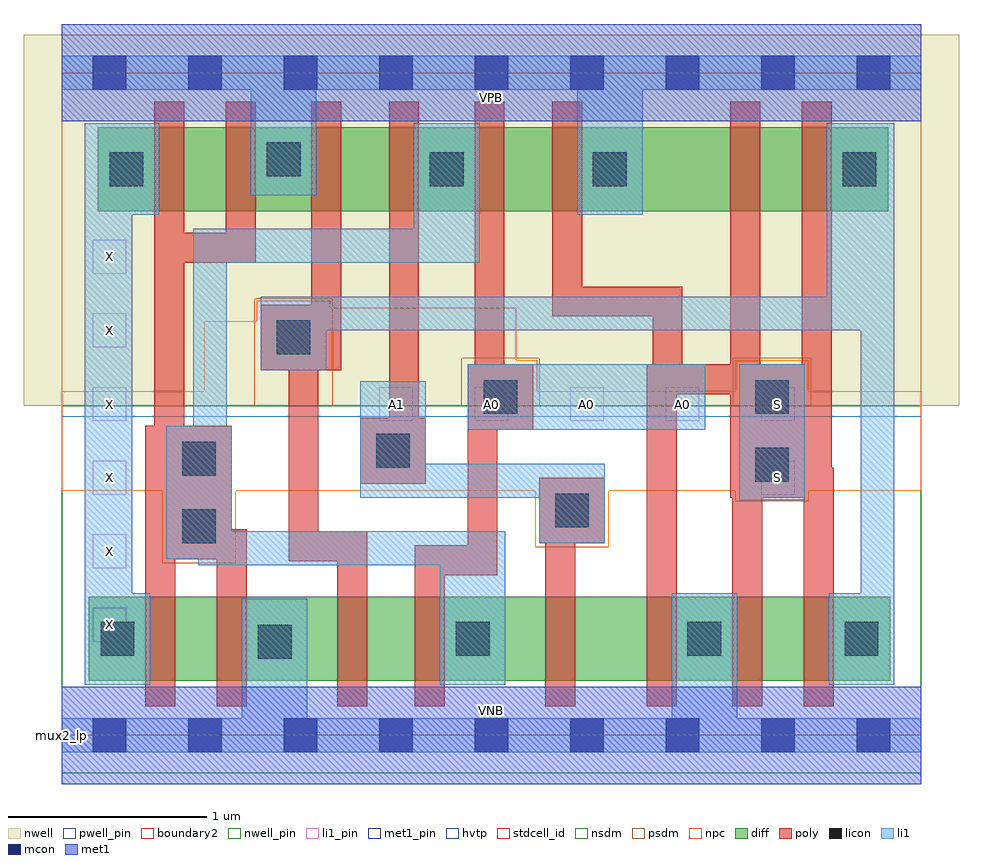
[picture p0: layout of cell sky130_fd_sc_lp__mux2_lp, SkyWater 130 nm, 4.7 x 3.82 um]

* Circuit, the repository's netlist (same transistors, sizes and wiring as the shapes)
* Copyright 2020 The SkyWater PDK Authors
*
* Licensed under the Apache License, Version 2.0 (the "License");
* you may not use this file except in compliance with the License.
* You may obtain a copy of the License at
*
*     https://www.apache.org/licenses/LICENSE-2.0
*
* Unless required by applicable law or agreed to in writing, software
* distributed under the License is distributed on an "AS IS" BASIS,
* WITHOUT WARRANTIES OR CONDITIONS OF ANY KIND, either express or implied.
* See the License for the specific language governing permissions and
* limitations under the License.
*
* SPDX-License-Identifier: Apache-2.0

.SUBCKT sky130_fd_sc_lp__mux2_lp A0 A1 S VGND VNB VPB VPWR X
*.PININFO A0:I A1:I S:I VGND:I VNB:I VPB:I VPWR:I X:O
MI6 Sb S net36 VNB sky130_fd_pr__nfet_01v8 m=1 w=0.42U l=0.15U mult=1 sa=0.265
+ sb=0.265 sd=0.28 area=0.063 perim=1.14
MMNA00 xb A0 smdNA0 VNB sky130_fd_pr__nfet_01v8 m=1 w=0.42U l=0.15U mult=1 sa=0.265
+ sb=0.265 sd=0.28 area=0.063 perim=1.14
MMNA01 smdNA0 Sb VGND VNB sky130_fd_pr__nfet_01v8 m=1 w=0.42U l=0.15U mult=1 sa=0.265
+ sb=0.265 sd=0.28 area=0.063 perim=1.14
MMNA10 xb A1 sndNA1 VNB sky130_fd_pr__nfet_01v8 m=1 w=0.42U l=0.15U mult=1 sa=0.265
+ sb=0.265 sd=0.28 area=0.063 perim=1.14
MMNA11 sndNA1 S VGND VNB sky130_fd_pr__nfet_01v8 m=1 w=0.42U l=0.15U mult=1 sa=0.265
+ sb=0.265 sd=0.28 area=0.063 perim=1.14
MMIN1 net36 S VGND VNB sky130_fd_pr__nfet_01v8 m=1 w=0.42U l=0.15U mult=1 sa=0.265
+ sb=0.265 sd=0.28 area=0.063 perim=1.14
MMIN2 X xb net29 VNB sky130_fd_pr__nfet_01v8 m=1 w=0.42U l=0.15U mult=1 sa=0.265
+ sb=0.265 sd=0.28 area=0.063 perim=1.14
MI8 net29 xb VGND VNB sky130_fd_pr__nfet_01v8 m=1 w=0.42U l=0.15U mult=1 sa=0.265
+ sb=0.265 sd=0.28 area=0.063 perim=1.14
MMPA00 VPWR S sndPS VPB sky130_fd_pr__pfet_01v8_hvt m=1 w=0.42U l=0.15U mult=1
+ sa=0.265 sb=0.265 sd=0.28 area=0.063 perim=1.14
MMPA01 sndPS A0 xb VPB sky130_fd_pr__pfet_01v8_hvt m=1 w=0.42U l=0.15U mult=1 sa=0.265
+ sb=0.265 sd=0.28 area=0.063 perim=1.14
MMPA10 VPWR Sb sndPSb VPB sky130_fd_pr__pfet_01v8_hvt m=1 w=0.42U l=0.15U mult=1
+ sa=0.265 sb=0.265 sd=0.28 area=0.063 perim=1.14
MMPA11 sndPSb A1 xb VPB sky130_fd_pr__pfet_01v8_hvt m=1 w=0.42U l=0.15U mult=1
+ sa=0.265 sb=0.265 sd=0.28 area=0.063 perim=1.14
MMIP1 net64 S VPWR VPB sky130_fd_pr__pfet_01v8_hvt m=1 w=0.42U l=0.15U mult=1 sa=0.265
+ sb=0.265 sd=0.28 area=0.063 perim=1.14
MMIP2 X xb net61 VPB sky130_fd_pr__pfet_01v8_hvt m=1 w=0.42U l=0.15U mult=1 sa=0.265
+ sb=0.265 sd=0.28 area=0.063 perim=1.14
MI9 net61 xb VPWR VPB sky130_fd_pr__pfet_01v8_hvt m=1 w=0.42U l=0.15U mult=1 sa=0.265
+ sb=0.265 sd=0.28 area=0.063 perim=1.14
MI7 Sb S net64 VPB sky130_fd_pr__pfet_01v8_hvt m=1 w=0.42U l=0.15U mult=1 sa=0.265
+ sb=0.265 sd=0.28 area=0.063 perim=1.14
.ENDS sky130_fd_sc_lp__mux2_lp

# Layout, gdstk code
import gdstk
lib = gdstk.Library(unit=1e-6, precision=1e-09)
def R(c, l, rs):  # rectangles x0, y0, x1, y1
    for r in rs: c.add(gdstk.rectangle(r[:2], r[2:], *l))
def A(c, l, x, y, w, h, nx, ny, dx, dy):  # array of equal rectangles
    R(c, l, [(x+i*dx, y+j*dy, x+i*dx+w, y+j*dy+h) for i in range(nx) for j in range(ny)])
def P(c, l, *ps):  # polygons
    for p in ps: c.add(gdstk.Polygon(p, *l))
nwell_pin = (64, 16)
nwell = (64, 20)
diff = (65, 20)
poly = (66, 20)
licon = (66, 44)
li1_pin = (67, 16)
li1 = (67, 20)
mcon = (67, 44)
met1_pin = (68, 16)
met1 = (68, 20)
hvtp = (78, 44)
stdcell_id = (81, 4)
nsdm = (93, 44)
psdm = (94, 20)
npc = (95, 20)
pwell_pin = (122, 16)
boundary2 = (236, 0)

sky130_fd_sc_lp__mux2_lp = lib.new_cell('sky130_fd_sc_lp__mux2_lp')
R(sky130_fd_sc_lp__mux2_lp, nwell_pin, [(0,3.085,4.32,3.33)])
R(sky130_fd_sc_lp__mux2_lp, nwell, [(-0.19,1.655,4.51,3.52)])
R(sky130_fd_sc_lp__mux2_lp, diff, [(0.135,0.275,4.165,0.695), (0.18,2.635,4.155,3.055)])
P(sky130_fd_sc_lp__mux2_lp, poly, [(0.975,3.185),(0.825,3.185),(0.825,2.525),(0.615,2.525),(0.615,3.185),(0.465,3.185),(0.465,1.555),(0.42,1.555),(0.42,0.145),(0.57,0.145),(0.57,0.885),(0.78,0.885),(0.78,0.145),(0.93,0.145),(0.93,1.035),(0.855,1.035),(0.855,1.555),(0.615,1.555),(0.615,2.375),(0.975,2.375)],
  [(1.535,1.025),(1.29,1.025),(1.29,1.835),(1.405,1.835),(1.405,3.185),(1.255,3.185),(1.255,2.165),(1,2.165),(1,1.835),(1.14,1.835),(1.14,0.875),(1.385,0.875),(1.385,0.145),(1.535,0.145)],
  [(1.83,1.595),(1.795,1.595),(1.795,3.185),(1.645,3.185),(1.645,1.595),(1.5,1.595),(1.5,1.265),(1.83,1.265)],
  [(2.37,1.865),(2.225,1.865),(2.225,3.185),(2.075,3.185),(2.075,1.865),(2.04,1.865),(2.04,0.955),(1.775,0.955),(1.775,0.145),(1.925,0.145),(1.925,0.805),(2.19,0.805),(2.19,1.535),(2.37,1.535)],
  [(2.73,1.295),(2.4,1.295),(2.4,0.965),(2.43,0.965),(2.43,0.145),(2.58,0.145),(2.58,0.965),(2.73,0.965)],
  [(3.88,1.345),(3.87,1.345),(3.87,3.185),(3.72,3.185),(3.72,1.865),(3.51,1.865),(3.51,3.185),(3.36,3.185),(3.36,1.865),(3.12,1.865),(3.12,2.255),(2.615,2.255),(2.615,3.185),(2.465,3.185),(2.465,2.105),(2.97,2.105),(2.97,1.865),(2.94,1.865),(2.94,0.145),(3.09,0.145),(3.09,1.715),(3.36,1.715),(3.36,1.195),(3.37,1.195),(3.37,0.145),(3.52,0.145),(3.52,1.195),(3.73,1.195),(3.73,0.145),(3.88,0.145)])
R(sky130_fd_sc_lp__mux2_lp, licon, [(0.985,0.385,1.155,0.555), (0.195,0.4,0.365,0.57), (1.98,0.4,2.15,0.57), (3.145,0.4,3.315,0.57), (3.935,0.4,4.105,0.57), (0.605,0.965,0.775,1.135), (2.48,1.045,2.65,1.215), (3.485,1.275,3.655,1.445), (0.605,1.305,0.775,1.475), (1.58,1.345,1.75,1.515), (2.12,1.615,2.29,1.785), (3.485,1.615,3.655,1.785), (1.08,1.915,1.25,2.085), (0.24,2.76,0.41,2.93), (1.85,2.76,2.02,2.93), (2.67,2.76,2.84,2.93), (3.925,2.76,4.095,2.93), (1.03,2.81,1.2,2.98)])
A(sky130_fd_sc_lp__mux2_lp, li1_pin, 0.155, 0.47, 0.17, 0.17, 1, 6, 0, 0.37)
A(sky130_fd_sc_lp__mux2_lp, li1_pin, 1.595, 1.58, 0.17, 0.17, 5, 1, 0.48, 0)
R(sky130_fd_sc_lp__mux2_lp, li1_pin, [(3.515,1.21,3.685,1.38)])
R(sky130_fd_sc_lp__mux2_lp, li1, [(3.405,1.18,3.735,1.865), (2.04,1.535,3.235,1.865)])
P(sky130_fd_sc_lp__mux2_lp, li1, [(2.59,2.615),(2.59,3.245),(1.28,3.245),(1.28,2.715),(0.95,2.715),(0.95,3.245),(0,3.245),(0,3.415),(4.32,3.415),(4.32,3.245),(2.92,3.245),(2.92,2.615)],
  [(0.905,0.085),(0.905,0.685),(1.235,0.685),(1.235,0.085),(3.065,0.085),(3.065,0.715),(3.395,0.715),(3.395,0.085),(4.32,0.085),(4.32,-0.085),(0,-0.085),(0,0.085)],
  [(3.845,2.205),(3.845,3.075),(4.185,3.075),(4.185,0.255),(3.855,0.255),(3.855,0.715),(4.015,0.715),(4.015,2.035),(1.33,2.035),(1.33,1.835),(1,1.835),(1,2.205)],
  [(1.5,1.78),(1.83,1.78),(1.83,1.365),(2.73,1.365),(2.73,0.965),(2.4,0.965),(2.4,1.195),(1.5,1.195)],
  [(0.525,0.885),(0.525,1.555),(0.66,1.555),(0.66,2.545),(1.77,2.545),(1.77,3.075),(2.1,3.075),(2.1,2.375),(0.83,2.375),(0.83,1.555),(0.855,1.555),(0.855,1.025),(2.23,1.025),(2.23,0.255),(1.9,0.255),(1.9,0.855),(0.685,0.855),(0.685,0.885)],
  [(0.115,3.075),(0.49,3.075),(0.49,2.615),(0.355,2.615),(0.355,0.715),(0.445,0.715),(0.445,0.255),(0.115,0.255)])
A(sky130_fd_sc_lp__mux2_lp, mcon, 0.155, -0.085, 0.17, 0.17, 9, 2, 0.48, 3.33)
R(sky130_fd_sc_lp__mux2_lp, met1_pin, [(0,0,4.32,0.245), (0,3.085,4.32,3.33)])
R(sky130_fd_sc_lp__mux2_lp, met1, [(0,-0.245,4.32,0.245), (0,3.085,4.32,3.575)])
R(sky130_fd_sc_lp__mux2_lp, hvtp, [(0,1.6,4.32,3.33)])
R(sky130_fd_sc_lp__mux2_lp, stdcell_id, [(0,0,4.32,3.33)])
R(sky130_fd_sc_lp__mux2_lp, nsdm, [(0,-0.19,4.32,1.655)])
P(sky130_fd_sc_lp__mux2_lp, psdm, [(4.32,3.52),(0,3.52),(0,1.655),(0.97,1.655),(0.97,2.195),(1.36,2.195),(1.36,1.655),(2.01,1.655),(2.01,1.895),(2.4,1.895),(2.4,1.655),(3.375,1.655),(3.375,1.895),(3.765,1.895),(3.765,1.655),(4.32,1.655)])
P(sky130_fd_sc_lp__mux2_lp, npc, [(4.32,1.73),(3.755,1.73),(3.755,1.885),(3.385,1.885),(3.385,1.73),(2.39,1.73),(2.39,1.885),(2.285,1.885),(2.285,2.15),(1.35,2.15),(1.35,2.185),(0.98,2.185),(0.98,2.08),(0.715,2.08),(0.715,1.73),(0,1.73),(0,1.23),(0.505,1.23),(0.505,0.865),(0.875,0.865),(0.875,1.23),(2.38,1.23),(2.38,0.945),(2.75,0.945),(2.75,1.23),(3.385,1.23),(3.385,1.175),(3.755,1.175),(3.755,1.23),(4.32,1.23)])
R(sky130_fd_sc_lp__mux2_lp, pwell_pin, [(0,0,4.32,0.245)])
R(sky130_fd_sc_lp__mux2_lp, boundary2, [(0,0,4.32,3.33)])
sky130_fd_sc_lp__mux2_lp.add(gdstk.Label('VNB', (2.16,0.123), layer=64, texttype=59))
sky130_fd_sc_lp__mux2_lp.add(gdstk.Label('VPB', (2.16,3.208), layer=64, texttype=5))
sky130_fd_sc_lp__mux2_lp.add(gdstk.Label('mux2_lp', (0,0), layer=83, texttype=44))
sky130_fd_sc_lp__mux2_lp.add(gdstk.Label('VPWR', (2.16,3.208), layer=68, texttype=5))
sky130_fd_sc_lp__mux2_lp.add(gdstk.Label('VGND', (2.16,0.123), layer=68, texttype=5))
sky130_fd_sc_lp__mux2_lp.add(gdstk.Label('S', (3.6,1.295), layer=67, texttype=5))
sky130_fd_sc_lp__mux2_lp.add(gdstk.Label('S', (3.6,1.665), layer=67, texttype=5))
sky130_fd_sc_lp__mux2_lp.add(gdstk.Label('A0', (2.16,1.665), layer=67, texttype=5))
sky130_fd_sc_lp__mux2_lp.add(gdstk.Label('A0', (2.64,1.665), layer=67, texttype=5))
sky130_fd_sc_lp__mux2_lp.add(gdstk.Label('A0', (3.12,1.665), layer=67, texttype=5))
sky130_fd_sc_lp__mux2_lp.add(gdstk.Label('X', (0.24,0.555), layer=67, texttype=5))
sky130_fd_sc_lp__mux2_lp.add(gdstk.Label('X', (0.24,0.925), layer=67, texttype=5))
sky130_fd_sc_lp__mux2_lp.add(gdstk.Label('X', (0.24,1.295), layer=67, texttype=5))
sky130_fd_sc_lp__mux2_lp.add(gdstk.Label('X', (0.24,1.665), layer=67, texttype=5))
sky130_fd_sc_lp__mux2_lp.add(gdstk.Label('X', (0.24,2.035), layer=67, texttype=5))
sky130_fd_sc_lp__mux2_lp.add(gdstk.Label('X', (0.24,2.405), layer=67, texttype=5))
sky130_fd_sc_lp__mux2_lp.add(gdstk.Label('A1', (1.68,1.665), layer=67, texttype=5))

lib.write_gds('sky130_fd_sc_lp__mux2_lp.gds')
